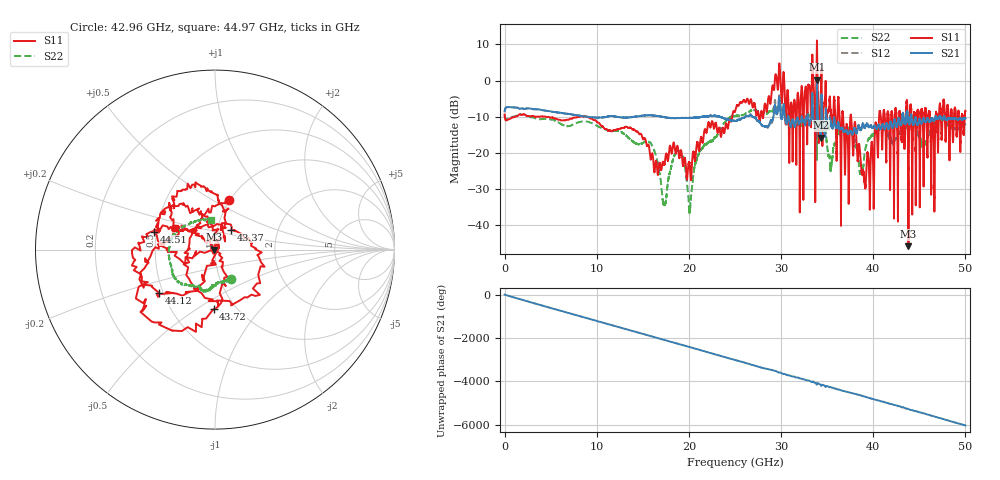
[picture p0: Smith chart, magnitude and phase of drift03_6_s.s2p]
!Created with skrf (http://scikit-rf.org).
# Hz S RI R 50.0
!freq ReS11 ImS11 ReS21 ImS21 ReS12 ImS12 ReS22 ImS22
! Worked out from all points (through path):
!   10001 points, 300 kHz to 50 GHz, reference 50 ohm
!   highest |S21| = 0.29 dB at 33.9 GHz (marker M1); lowest = -15.7 dB at 34.32 GHz (marker M2)
!   group delay of S21, straight-line fit = 335 ps
!   lowest |S11| = -45.8 dB at 43.82 GHz (marker M3), VSWR 1.01, Z = 49.5 - j0.00744 ohm
!   |S11| at or under -10 dB: 4.467 GHz to 7.925 GHz (3.458 GHz wide, 55.8 % of centre); 9 GHz to 24.7 GHz (15.7 GHz wide, 93.2 % of centre); 37.61 GHz to 40.63 GHz (3.028 GHz wide, 7.74 % of centre) (the widest 3 of 65)
!   |S22| runs from -36.8 to -6.0 dB; largest |S21 - S12| = 0.11
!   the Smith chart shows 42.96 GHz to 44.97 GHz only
!   S11 on the Smith chart (normalised r, x): 42.96 GHz: 0.99, +0.60; 43.37 GHz: 1.17, +0.27; 43.72 GHz: 0.79, -0.59; 44.12 GHz: 0.47, -0.27; 44.51 GHz: 0.48, +0.11; 44.97 GHz: 0.62, +0.16
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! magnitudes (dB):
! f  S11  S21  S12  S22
! 300 kHz  -9.4  -8.5  -8.5  -9.4
! 8.335 GHz  -9.9  -9.8  -9.8  -11.4
! 16.67 GHz  -25.6  -9.8  -9.8  -23.6
! 17.35 GHz  -23.1  -10.1  -10.1  -34.1
! 19.04 GHz  -20.4  -10.4  -10.4  -19.9
! 20.1 GHz  -23.8  -10.3  -10.3  -35.5
! 25 GHz  -8.6  -11.1  -11.1  -9.9
! 33.34 GHz  0.3  -7.7  -7.8  -9.5
! 33.9 GHz  11.1  0.3  -0.2  -21.9
! 34.32 GHz  -2.8  -15.7  -15.0  -11.4
! 35.33 GHz  -6.2  -10.5  -10.0  -23.9
! 37.02 GHz  -16.1  -13.8  -14.0  -14.1
! 38.99 GHz  -26.6  -12.6  -12.7  -22.0
! 41.67 GHz  -9.9  -13.4  -13.3  -14.8
! 42.96 GHz  -10.8  -12.3  -12.3  -14.6
! 43.37 GHz  -16.8  -11.5  -11.5  -13.6
! 43.72 GHz  -9.6  -9.4  -9.4  -13.0
! 43.82 GHz  -45.8  -11.3  -11.3  -11.9
! 44.12 GHz  -8.1  -9.4  -9.5  -11.4
! 44.51 GHz  -9.0  -10.9  -10.8  -12.2
! 44.97 GHz  -11.9  -10.9  -10.9  -15.5
! 50 GHz  -8.4  -10.5  -10.5  -12.1
